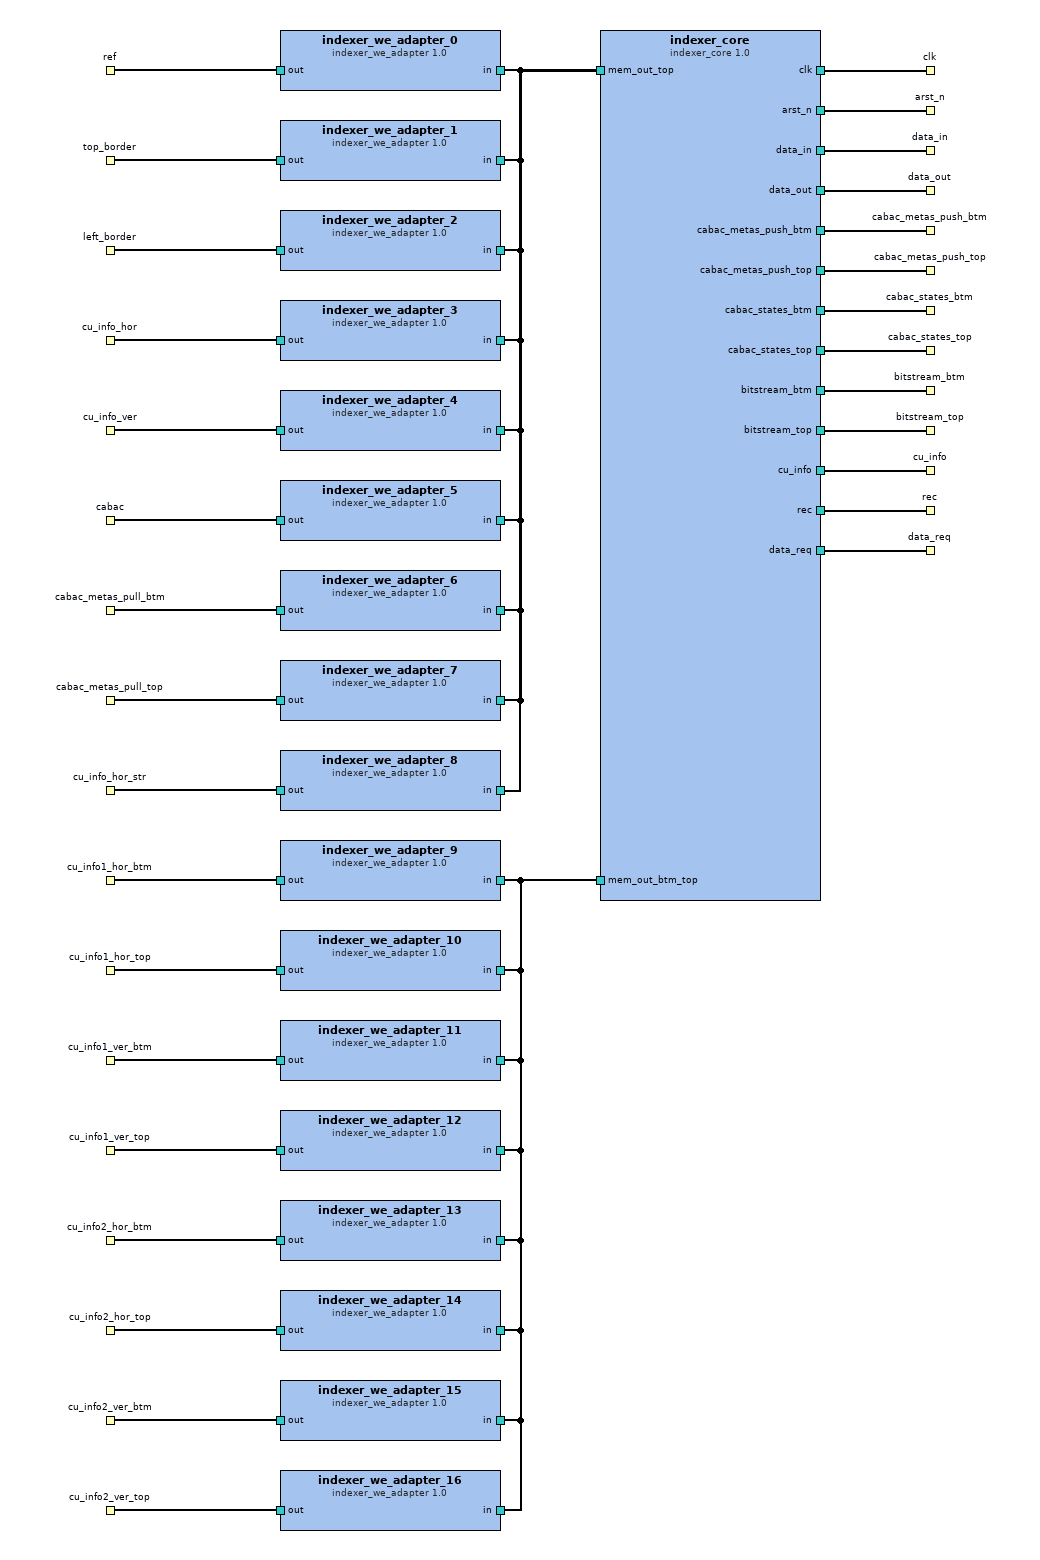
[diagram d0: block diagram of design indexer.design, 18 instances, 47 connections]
<?xml version="1.0" encoding="UTF-8"?>
<ipxact:design xmlns:xsi="http://www.w3.org/2001/XMLSchema-instance" xmlns:ipxact="http://www.accellera.org/XMLSchema/IPXACT/1685-2014" xmlns:kactus2="http://kactus2.cs.tut.fi" xsi:schemaLocation="http://www.accellera.org/XMLSchema/IPXACT/1685-2014 http://www.accellera.org/XMLSchema/IPXACT/1685-2014/index.xsd"><ipxact:vendor>tuni.fi</ipxact:vendor><ipxact:library>Kvazaar</ipxact:library><ipxact:name>indexer.design</ipxact:name>
 <ipxact:version>1.0</ipxact:version><ipxact:componentInstances>
 <ipxact:componentInstance><ipxact:instanceName>indexer_core</ipxact:instanceName><ipxact:componentRef vendor="tuni.fi" library="Kvazaar" name="indexer_core" version="1.0"/></ipxact:componentInstance>
 <ipxact:componentInstance><ipxact:instanceName>indexer_we_adapter_0</ipxact:instanceName>
  <ipxact:componentRef vendor="tuni.fi" library="Kvazaar" name="indexer_we_adapter" version="1.0"><ipxact:configurableElementValues><ipxact:configurableElementValue referenceId="uuid_0b2f6ce5_b293_4f05_b77b_14caa463fec4">0+128</ipxact:configurableElementValue><ipxact:configurableElementValue referenceId="uuid_37db8b50_8b79_4831_bff2_ba933473f280">13</ipxact:configurableElementValue></ipxact:configurableElementValues></ipxact:componentRef>
 </ipxact:componentInstance>
 <ipxact:componentInstance><ipxact:instanceName>indexer_we_adapter_1</ipxact:instanceName>
  <ipxact:componentRef vendor="tuni.fi" library="Kvazaar" name="indexer_we_adapter" version="1.0"><ipxact:configurableElementValues><ipxact:configurableElementValue referenceId="uuid_0b2f6ce5_b293_4f05_b77b_14caa463fec4">1+128</ipxact:configurableElementValue><ipxact:configurableElementValue referenceId="uuid_37db8b50_8b79_4831_bff2_ba933473f280">13</ipxact:configurableElementValue></ipxact:configurableElementValues></ipxact:componentRef>
 </ipxact:componentInstance>
 <ipxact:componentInstance><ipxact:instanceName>indexer_we_adapter_2</ipxact:instanceName>
  <ipxact:componentRef vendor="tuni.fi" library="Kvazaar" name="indexer_we_adapter" version="1.0"><ipxact:configurableElementValues><ipxact:configurableElementValue referenceId="uuid_0b2f6ce5_b293_4f05_b77b_14caa463fec4">2+128</ipxact:configurableElementValue><ipxact:configurableElementValue referenceId="uuid_37db8b50_8b79_4831_bff2_ba933473f280">13</ipxact:configurableElementValue></ipxact:configurableElementValues></ipxact:componentRef>
 </ipxact:componentInstance>
 <ipxact:componentInstance><ipxact:instanceName>indexer_we_adapter_3</ipxact:instanceName>
  <ipxact:componentRef vendor="tuni.fi" library="Kvazaar" name="indexer_we_adapter" version="1.0"><ipxact:configurableElementValues><ipxact:configurableElementValue referenceId="uuid_0b2f6ce5_b293_4f05_b77b_14caa463fec4">4+128</ipxact:configurableElementValue><ipxact:configurableElementValue referenceId="uuid_37db8b50_8b79_4831_bff2_ba933473f280">13</ipxact:configurableElementValue></ipxact:configurableElementValues></ipxact:componentRef>
 </ipxact:componentInstance>
 <ipxact:componentInstance><ipxact:instanceName>indexer_we_adapter_4</ipxact:instanceName>
  <ipxact:componentRef vendor="tuni.fi" library="Kvazaar" name="indexer_we_adapter" version="1.0"><ipxact:configurableElementValues><ipxact:configurableElementValue referenceId="uuid_0b2f6ce5_b293_4f05_b77b_14caa463fec4">3+128</ipxact:configurableElementValue><ipxact:configurableElementValue referenceId="uuid_37db8b50_8b79_4831_bff2_ba933473f280">13</ipxact:configurableElementValue></ipxact:configurableElementValues></ipxact:componentRef>
 </ipxact:componentInstance>
 <ipxact:componentInstance><ipxact:instanceName>indexer_we_adapter_5</ipxact:instanceName>
  <ipxact:componentRef vendor="tuni.fi" library="Kvazaar" name="indexer_we_adapter" version="1.0"><ipxact:configurableElementValues><ipxact:configurableElementValue referenceId="uuid_0b2f6ce5_b293_4f05_b77b_14caa463fec4">6+128</ipxact:configurableElementValue><ipxact:configurableElementValue referenceId="uuid_37db8b50_8b79_4831_bff2_ba933473f280">13</ipxact:configurableElementValue></ipxact:configurableElementValues></ipxact:componentRef>
 </ipxact:componentInstance>
 <ipxact:componentInstance><ipxact:instanceName>indexer_we_adapter_6</ipxact:instanceName>
  <ipxact:componentRef vendor="tuni.fi" library="Kvazaar" name="indexer_we_adapter" version="1.0"><ipxact:configurableElementValues><ipxact:configurableElementValue referenceId="uuid_0b2f6ce5_b293_4f05_b77b_14caa463fec4">7+128</ipxact:configurableElementValue><ipxact:configurableElementValue referenceId="uuid_37db8b50_8b79_4831_bff2_ba933473f280">13</ipxact:configurableElementValue></ipxact:configurableElementValues></ipxact:componentRef>
 </ipxact:componentInstance>
 <ipxact:componentInstance><ipxact:instanceName>indexer_we_adapter_7</ipxact:instanceName>
  <ipxact:componentRef vendor="tuni.fi" library="Kvazaar" name="indexer_we_adapter" version="1.0"><ipxact:configurableElementValues><ipxact:configurableElementValue referenceId="uuid_0b2f6ce5_b293_4f05_b77b_14caa463fec4">8+128</ipxact:configurableElementValue><ipxact:configurableElementValue referenceId="uuid_37db8b50_8b79_4831_bff2_ba933473f280">13</ipxact:configurableElementValue></ipxact:configurableElementValues></ipxact:componentRef>
 </ipxact:componentInstance>
 <ipxact:componentInstance><ipxact:instanceName>indexer_we_adapter_8</ipxact:instanceName>
  <ipxact:componentRef vendor="tuni.fi" library="Kvazaar" name="indexer_we_adapter" version="1.0"><ipxact:configurableElementValues><ipxact:configurableElementValue referenceId="uuid_0b2f6ce5_b293_4f05_b77b_14caa463fec4">5+128</ipxact:configurableElementValue><ipxact:configurableElementValue referenceId="uuid_37db8b50_8b79_4831_bff2_ba933473f280">13</ipxact:configurableElementValue></ipxact:configurableElementValues></ipxact:componentRef>
 </ipxact:componentInstance>
 <ipxact:componentInstance><ipxact:instanceName>indexer_we_adapter_9</ipxact:instanceName>
  <ipxact:componentRef vendor="tuni.fi" library="Kvazaar" name="indexer_we_adapter" version="1.0">
   <ipxact:configurableElementValues><ipxact:configurableElementValue referenceId="uuid_0b2f6ce5_b293_4f05_b77b_14caa463fec4">2+128</ipxact:configurableElementValue><ipxact:configurableElementValue referenceId="uuid_a79f059f_8139_4a71_802e_91486f171a7d">4</ipxact:configurableElementValue><ipxact:configurableElementValue referenceId="uuid_37db8b50_8b79_4831_bff2_ba933473f280">13</ipxact:configurableElementValue></ipxact:configurableElementValues>
  </ipxact:componentRef>
 </ipxact:componentInstance>
 <ipxact:componentInstance><ipxact:instanceName>indexer_we_adapter_10</ipxact:instanceName>
  <ipxact:componentRef vendor="tuni.fi" library="Kvazaar" name="indexer_we_adapter" version="1.0">
   <ipxact:configurableElementValues><ipxact:configurableElementValue referenceId="uuid_0b2f6ce5_b293_4f05_b77b_14caa463fec4">3+128</ipxact:configurableElementValue><ipxact:configurableElementValue referenceId="uuid_a79f059f_8139_4a71_802e_91486f171a7d">4</ipxact:configurableElementValue><ipxact:configurableElementValue referenceId="uuid_37db8b50_8b79_4831_bff2_ba933473f280">13</ipxact:configurableElementValue></ipxact:configurableElementValues>
  </ipxact:componentRef>
 </ipxact:componentInstance>
 <ipxact:componentInstance><ipxact:instanceName>indexer_we_adapter_11</ipxact:instanceName>
  <ipxact:componentRef vendor="tuni.fi" library="Kvazaar" name="indexer_we_adapter" version="1.0">
   <ipxact:configurableElementValues><ipxact:configurableElementValue referenceId="uuid_a79f059f_8139_4a71_802e_91486f171a7d">4</ipxact:configurableElementValue><ipxact:configurableElementValue referenceId="uuid_0b2f6ce5_b293_4f05_b77b_14caa463fec4">0+128</ipxact:configurableElementValue><ipxact:configurableElementValue referenceId="uuid_37db8b50_8b79_4831_bff2_ba933473f280">13</ipxact:configurableElementValue></ipxact:configurableElementValues>
  </ipxact:componentRef>
 </ipxact:componentInstance>
 <ipxact:componentInstance><ipxact:instanceName>indexer_we_adapter_12</ipxact:instanceName>
  <ipxact:componentRef vendor="tuni.fi" library="Kvazaar" name="indexer_we_adapter" version="1.0">
   <ipxact:configurableElementValues><ipxact:configurableElementValue referenceId="uuid_0b2f6ce5_b293_4f05_b77b_14caa463fec4">1+128</ipxact:configurableElementValue><ipxact:configurableElementValue referenceId="uuid_a79f059f_8139_4a71_802e_91486f171a7d">4</ipxact:configurableElementValue><ipxact:configurableElementValue referenceId="uuid_37db8b50_8b79_4831_bff2_ba933473f280">13</ipxact:configurableElementValue></ipxact:configurableElementValues>
  </ipxact:componentRef>
 </ipxact:componentInstance>
 <ipxact:componentInstance><ipxact:instanceName>indexer_we_adapter_13</ipxact:instanceName>
  <ipxact:componentRef vendor="tuni.fi" library="Kvazaar" name="indexer_we_adapter" version="1.0">
   <ipxact:configurableElementValues><ipxact:configurableElementValue referenceId="uuid_0b2f6ce5_b293_4f05_b77b_14caa463fec4">2+128</ipxact:configurableElementValue><ipxact:configurableElementValue referenceId="uuid_a79f059f_8139_4a71_802e_91486f171a7d">4</ipxact:configurableElementValue><ipxact:configurableElementValue referenceId="uuid_37db8b50_8b79_4831_bff2_ba933473f280">13</ipxact:configurableElementValue></ipxact:configurableElementValues>
  </ipxact:componentRef>
 </ipxact:componentInstance>
 <ipxact:componentInstance><ipxact:instanceName>indexer_we_adapter_14</ipxact:instanceName>
  <ipxact:componentRef vendor="tuni.fi" library="Kvazaar" name="indexer_we_adapter" version="1.0">
   <ipxact:configurableElementValues><ipxact:configurableElementValue referenceId="uuid_0b2f6ce5_b293_4f05_b77b_14caa463fec4">3+128</ipxact:configurableElementValue><ipxact:configurableElementValue referenceId="uuid_a79f059f_8139_4a71_802e_91486f171a7d">4</ipxact:configurableElementValue><ipxact:configurableElementValue referenceId="uuid_37db8b50_8b79_4831_bff2_ba933473f280">13</ipxact:configurableElementValue></ipxact:configurableElementValues>
  </ipxact:componentRef>
 </ipxact:componentInstance>
 <ipxact:componentInstance><ipxact:instanceName>indexer_we_adapter_15</ipxact:instanceName>
  <ipxact:componentRef vendor="tuni.fi" library="Kvazaar" name="indexer_we_adapter" version="1.0">
   <ipxact:configurableElementValues><ipxact:configurableElementValue referenceId="uuid_a79f059f_8139_4a71_802e_91486f171a7d">4</ipxact:configurableElementValue><ipxact:configurableElementValue referenceId="uuid_0b2f6ce5_b293_4f05_b77b_14caa463fec4">0+128</ipxact:configurableElementValue><ipxact:configurableElementValue referenceId="uuid_37db8b50_8b79_4831_bff2_ba933473f280">13</ipxact:configurableElementValue></ipxact:configurableElementValues>
  </ipxact:componentRef>
 </ipxact:componentInstance>
 <ipxact:componentInstance><ipxact:instanceName>indexer_we_adapter_16</ipxact:instanceName>
  <ipxact:componentRef vendor="tuni.fi" library="Kvazaar" name="indexer_we_adapter" version="1.0">
   <ipxact:configurableElementValues><ipxact:configurableElementValue referenceId="uuid_0b2f6ce5_b293_4f05_b77b_14caa463fec4">1+128</ipxact:configurableElementValue><ipxact:configurableElementValue referenceId="uuid_a79f059f_8139_4a71_802e_91486f171a7d">4</ipxact:configurableElementValue><ipxact:configurableElementValue referenceId="uuid_37db8b50_8b79_4831_bff2_ba933473f280">13</ipxact:configurableElementValue></ipxact:configurableElementValues>
  </ipxact:componentRef>
 </ipxact:componentInstance>
</ipxact:componentInstances><ipxact:interconnections>
 <ipxact:interconnection><ipxact:name>indexer_core_clk_to_clk</ipxact:name><ipxact:activeInterface componentRef="indexer_core" busRef="clk"/><ipxact:hierInterface busRef="clk"/></ipxact:interconnection>
 <ipxact:interconnection><ipxact:name>indexer_core_arst_n_to_arst_n</ipxact:name><ipxact:activeInterface componentRef="indexer_core" busRef="arst_n"/><ipxact:hierInterface busRef="arst_n"/></ipxact:interconnection>
 <ipxact:interconnection><ipxact:name>indexer_core_data_in_to_data_in</ipxact:name><ipxact:activeInterface componentRef="indexer_core" busRef="data_in"/><ipxact:hierInterface busRef="data_in"/></ipxact:interconnection>
 <ipxact:interconnection><ipxact:name>indexer_core_data_out_to_data_out</ipxact:name><ipxact:activeInterface componentRef="indexer_core" busRef="data_out"/><ipxact:hierInterface busRef="data_out"/></ipxact:interconnection>
 <ipxact:interconnection><ipxact:name>indexer_core_cabac_metas_push_btm_to_cabac_metas_push_btm</ipxact:name><ipxact:activeInterface componentRef="indexer_core" busRef="cabac_metas_push_btm"/><ipxact:hierInterface busRef="cabac_metas_push_btm"/></ipxact:interconnection>
 <ipxact:interconnection><ipxact:name>indexer_core_cabac_metas_push_top_to_cabac_metas_push_top</ipxact:name><ipxact:activeInterface componentRef="indexer_core" busRef="cabac_metas_push_top"/><ipxact:hierInterface busRef="cabac_metas_push_top"/></ipxact:interconnection>
 <ipxact:interconnection><ipxact:name>indexer_core_cabac_states_btm_to_cabac_states_btm</ipxact:name><ipxact:activeInterface componentRef="indexer_core" busRef="cabac_states_btm"/><ipxact:hierInterface busRef="cabac_states_btm"/></ipxact:interconnection>
 <ipxact:interconnection><ipxact:name>indexer_core_bitstream_btm_to_bitstream_btm</ipxact:name><ipxact:activeInterface componentRef="indexer_core" busRef="bitstream_btm"/><ipxact:hierInterface busRef="bitstream_btm"/></ipxact:interconnection>
 <ipxact:interconnection><ipxact:name>indexer_core_cabac_states_top_to_cabac_states_top</ipxact:name><ipxact:activeInterface componentRef="indexer_core" busRef="cabac_states_top"/><ipxact:hierInterface busRef="cabac_states_top"/></ipxact:interconnection>
 <ipxact:interconnection><ipxact:name>indexer_core_bitstream_top_to_bitstream_top</ipxact:name><ipxact:activeInterface componentRef="indexer_core" busRef="bitstream_top"/><ipxact:hierInterface busRef="bitstream_top"/></ipxact:interconnection>
 <ipxact:interconnection><ipxact:name>indexer_core_cu_info_to_cu_info</ipxact:name><ipxact:activeInterface componentRef="indexer_core" busRef="cu_info"/><ipxact:hierInterface busRef="cu_info"/></ipxact:interconnection>
 <ipxact:interconnection><ipxact:name>indexer_core_rec_to_rec</ipxact:name><ipxact:activeInterface componentRef="indexer_core" busRef="rec"/><ipxact:hierInterface busRef="rec"/></ipxact:interconnection>
 <ipxact:interconnection><ipxact:name>indexer_core_mem_out_top_to_indexer_we_adapter_0_in</ipxact:name><ipxact:activeInterface componentRef="indexer_core" busRef="mem_out_top"/><ipxact:activeInterface componentRef="indexer_we_adapter_0" busRef="in"/></ipxact:interconnection>
 <ipxact:interconnection><ipxact:name>indexer_core_mem_out_top_to_indexer_we_adapter_1_in</ipxact:name><ipxact:activeInterface componentRef="indexer_core" busRef="mem_out_top"/><ipxact:activeInterface componentRef="indexer_we_adapter_1" busRef="in"/></ipxact:interconnection>
 <ipxact:interconnection><ipxact:name>indexer_core_mem_out_top_to_indexer_we_adapter_2_in</ipxact:name><ipxact:activeInterface componentRef="indexer_core" busRef="mem_out_top"/><ipxact:activeInterface componentRef="indexer_we_adapter_2" busRef="in"/></ipxact:interconnection>
 <ipxact:interconnection><ipxact:name>indexer_core_mem_out_top_to_indexer_we_adapter_3_in</ipxact:name><ipxact:activeInterface componentRef="indexer_core" busRef="mem_out_top"/><ipxact:activeInterface componentRef="indexer_we_adapter_3" busRef="in"/></ipxact:interconnection>
 <ipxact:interconnection><ipxact:name>indexer_core_mem_out_top_to_indexer_we_adapter_4_in</ipxact:name><ipxact:activeInterface componentRef="indexer_core" busRef="mem_out_top"/><ipxact:activeInterface componentRef="indexer_we_adapter_4" busRef="in"/></ipxact:interconnection>
 <ipxact:interconnection><ipxact:name>indexer_core_mem_out_top_to_indexer_we_adapter_5_in</ipxact:name><ipxact:activeInterface componentRef="indexer_core" busRef="mem_out_top"/><ipxact:activeInterface componentRef="indexer_we_adapter_5" busRef="in"/></ipxact:interconnection>
 <ipxact:interconnection><ipxact:name>indexer_core_mem_out_top_to_indexer_we_adapter_6_in</ipxact:name><ipxact:activeInterface componentRef="indexer_core" busRef="mem_out_top"/><ipxact:activeInterface componentRef="indexer_we_adapter_6" busRef="in"/></ipxact:interconnection>
 <ipxact:interconnection><ipxact:name>indexer_core_mem_out_top_to_indexer_we_adapter_7_in</ipxact:name><ipxact:activeInterface componentRef="indexer_core" busRef="mem_out_top"/><ipxact:activeInterface componentRef="indexer_we_adapter_7" busRef="in"/></ipxact:interconnection>
 <ipxact:interconnection><ipxact:name>indexer_we_adapter_8_in_to_indexer_core_mem_out_top</ipxact:name><ipxact:activeInterface componentRef="indexer_we_adapter_8" busRef="in"/><ipxact:activeInterface componentRef="indexer_core" busRef="mem_out_top"/></ipxact:interconnection>
 <ipxact:interconnection><ipxact:name>indexer_core_mem_out_btm_top_to_indexer_we_adapter_9_in</ipxact:name><ipxact:activeInterface componentRef="indexer_core" busRef="mem_out_btm_top"/><ipxact:activeInterface componentRef="indexer_we_adapter_9" busRef="in"/></ipxact:interconnection>
 <ipxact:interconnection><ipxact:name>indexer_core_mem_out_btm_top_to_indexer_we_adapter_10_in</ipxact:name><ipxact:activeInterface componentRef="indexer_core" busRef="mem_out_btm_top"/><ipxact:activeInterface componentRef="indexer_we_adapter_10" busRef="in"/></ipxact:interconnection>
 <ipxact:interconnection><ipxact:name>indexer_core_mem_out_btm_top_to_indexer_we_adapter_11_in</ipxact:name><ipxact:activeInterface componentRef="indexer_core" busRef="mem_out_btm_top"/><ipxact:activeInterface componentRef="indexer_we_adapter_11" busRef="in"/></ipxact:interconnection>
 <ipxact:interconnection><ipxact:name>indexer_core_mem_out_btm_top_to_indexer_we_adapter_12_in</ipxact:name><ipxact:activeInterface componentRef="indexer_core" busRef="mem_out_btm_top"/><ipxact:activeInterface componentRef="indexer_we_adapter_12" busRef="in"/></ipxact:interconnection>
 <ipxact:interconnection><ipxact:name>indexer_core_mem_out_btm_top_to_indexer_we_adapter_13_in</ipxact:name><ipxact:activeInterface componentRef="indexer_core" busRef="mem_out_btm_top"/><ipxact:activeInterface componentRef="indexer_we_adapter_13" busRef="in"/></ipxact:interconnection>
 <ipxact:interconnection><ipxact:name>indexer_core_mem_out_btm_top_to_indexer_we_adapter_14_in</ipxact:name><ipxact:activeInterface componentRef="indexer_core" busRef="mem_out_btm_top"/><ipxact:activeInterface componentRef="indexer_we_adapter_14" busRef="in"/></ipxact:interconnection>
 <ipxact:interconnection><ipxact:name>indexer_core_mem_out_btm_top_to_indexer_we_adapter_15_in</ipxact:name><ipxact:activeInterface componentRef="indexer_core" busRef="mem_out_btm_top"/><ipxact:activeInterface componentRef="indexer_we_adapter_15" busRef="in"/></ipxact:interconnection>
 <ipxact:interconnection><ipxact:name>indexer_core_mem_out_btm_top_to_indexer_we_adapter_16_in</ipxact:name><ipxact:activeInterface componentRef="indexer_core" busRef="mem_out_btm_top"/><ipxact:activeInterface componentRef="indexer_we_adapter_16" busRef="in"/></ipxact:interconnection>
 <ipxact:interconnection><ipxact:name>indexer_core_data_req_to_bus</ipxact:name><ipxact:activeInterface componentRef="indexer_core" busRef="data_req"/><ipxact:hierInterface busRef="data_req"/></ipxact:interconnection>
 <ipxact:interconnection><ipxact:name>indexer_we_adapter_0_out_to_ref</ipxact:name><ipxact:activeInterface componentRef="indexer_we_adapter_0" busRef="out"/><ipxact:hierInterface busRef="ref"/></ipxact:interconnection>
 <ipxact:interconnection><ipxact:name>indexer_we_adapter_1_out_to_top_border</ipxact:name><ipxact:activeInterface componentRef="indexer_we_adapter_1" busRef="out"/><ipxact:hierInterface busRef="top_border"/></ipxact:interconnection>
 <ipxact:interconnection><ipxact:name>indexer_we_adapter_2_out_to_left_border</ipxact:name><ipxact:activeInterface componentRef="indexer_we_adapter_2" busRef="out"/><ipxact:hierInterface busRef="left_border"/></ipxact:interconnection>
 <ipxact:interconnection><ipxact:name>indexer_we_adapter_3_out_to_cu_info_hor</ipxact:name><ipxact:activeInterface componentRef="indexer_we_adapter_3" busRef="out"/><ipxact:hierInterface busRef="cu_info_hor"/></ipxact:interconnection>
 <ipxact:interconnection><ipxact:name>indexer_we_adapter_4_out_to_cu_info_ver</ipxact:name><ipxact:activeInterface componentRef="indexer_we_adapter_4" busRef="out"/><ipxact:hierInterface busRef="cu_info_ver"/></ipxact:interconnection>
 <ipxact:interconnection><ipxact:name>indexer_we_adapter_5_out_to_cabac</ipxact:name><ipxact:activeInterface componentRef="indexer_we_adapter_5" busRef="out"/><ipxact:hierInterface busRef="cabac"/></ipxact:interconnection>
 <ipxact:interconnection><ipxact:name>indexer_we_adapter_6_out_to_cabac_metas_pull_btm</ipxact:name><ipxact:activeInterface componentRef="indexer_we_adapter_6" busRef="out"/><ipxact:hierInterface busRef="cabac_metas_pull_btm"/></ipxact:interconnection>
 <ipxact:interconnection><ipxact:name>indexer_we_adapter_7_out_to_cabac_metas_pull_top</ipxact:name><ipxact:activeInterface componentRef="indexer_we_adapter_7" busRef="out"/><ipxact:hierInterface busRef="cabac_metas_pull_top"/></ipxact:interconnection>
 <ipxact:interconnection><ipxact:name>indexer_we_adapter_8_out_to_cu_info_hor_str</ipxact:name><ipxact:activeInterface componentRef="indexer_we_adapter_8" busRef="out"/><ipxact:hierInterface busRef="cu_info_hor_str"/></ipxact:interconnection>
 <ipxact:interconnection><ipxact:name>indexer_we_adapter_9_out_to_cu_info1_hor_btm</ipxact:name><ipxact:activeInterface componentRef="indexer_we_adapter_9" busRef="out"/><ipxact:hierInterface busRef="cu_info1_hor_btm"/></ipxact:interconnection>
 <ipxact:interconnection><ipxact:name>indexer_we_adapter_10_out_to_cu_info1_hor_top</ipxact:name><ipxact:activeInterface componentRef="indexer_we_adapter_10" busRef="out"/><ipxact:hierInterface busRef="cu_info1_hor_top"/></ipxact:interconnection>
 <ipxact:interconnection><ipxact:name>indexer_we_adapter_11_out_to_cu_info1_ver_btm</ipxact:name><ipxact:activeInterface componentRef="indexer_we_adapter_11" busRef="out"/><ipxact:hierInterface busRef="cu_info1_ver_btm"/></ipxact:interconnection>
 <ipxact:interconnection><ipxact:name>indexer_we_adapter_12_out_to_cu_info1_ver_top</ipxact:name><ipxact:activeInterface componentRef="indexer_we_adapter_12" busRef="out"/><ipxact:hierInterface busRef="cu_info1_ver_top"/></ipxact:interconnection>
 <ipxact:interconnection><ipxact:name>indexer_we_adapter_13_out_to_cu_info2_hor_btm</ipxact:name><ipxact:activeInterface componentRef="indexer_we_adapter_13" busRef="out"/><ipxact:hierInterface busRef="cu_info2_hor_btm"/></ipxact:interconnection>
 <ipxact:interconnection><ipxact:name>indexer_we_adapter_14_out_to_cu_info2_hor_top</ipxact:name><ipxact:activeInterface componentRef="indexer_we_adapter_14" busRef="out"/><ipxact:hierInterface busRef="cu_info2_hor_top"/></ipxact:interconnection>
 <ipxact:interconnection><ipxact:name>indexer_we_adapter_15_out_to_cu_info2_ver_btm</ipxact:name><ipxact:activeInterface componentRef="indexer_we_adapter_15" busRef="out"/><ipxact:hierInterface busRef="cu_info2_ver_btm"/></ipxact:interconnection>
 <ipxact:interconnection><ipxact:name>indexer_we_adapter_16_out_to_cu_info2_ver_top</ipxact:name><ipxact:activeInterface componentRef="indexer_we_adapter_16" busRef="out"/><ipxact:hierInterface busRef="cu_info2_ver_top"/></ipxact:interconnection>
</ipxact:interconnections></ipxact:design>

